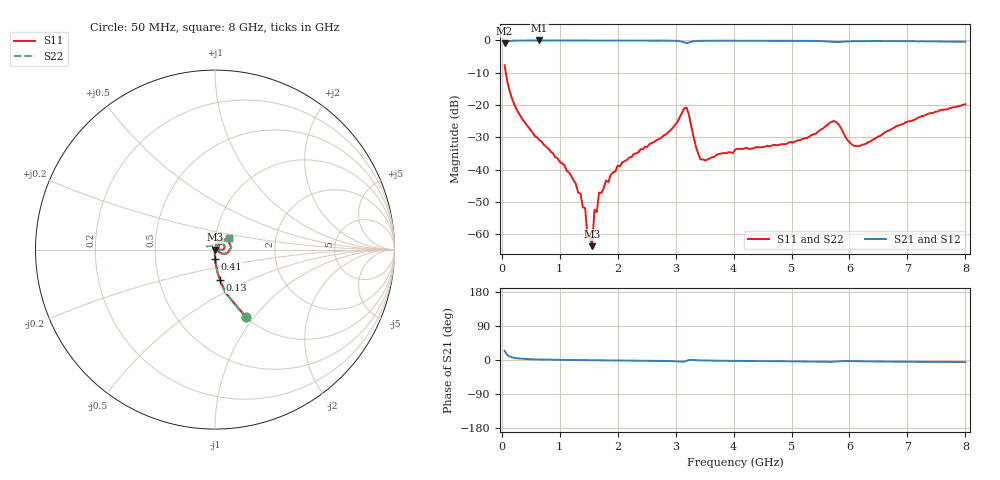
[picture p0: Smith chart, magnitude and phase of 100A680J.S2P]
!  American Technical Ceramics  Date:  3/13/98
!  One Norden Lane
!  Huntington Station,  NY.  11746-2102
!  Tel:  (516) 547-5700  Fax:  (516) 547-5748
!  Part Number  100A680J
!  Description: Porcelain, High Q, Low ESR
!  Application: Bypass, Coupling, Timing, Feedback
!  Tuning, Impedance Match, Blocking
# GHZ S DB R 50
! Freq  |S11|  S11 Ph  |S21|  S21 Ph  |S12|  S12 Ph  |S22|  S22 Ph
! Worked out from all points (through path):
!   201 points, 50 MHz to 8 GHz, reference 50 ohm
!   highest |S21| = -0.01 dB at 650 MHz (marker M1); lowest = -0.9 dB at 50 MHz (marker M2)
!   group delay of S21, straight-line fit = 2.93 ps
!   lowest |S11| = -63.6 dB at 1.56 GHz (marker M3), VSWR 1.00, Z = 50.1 + j0.00665 ohm
!   |S11| at or under -10 dB: 71.07 MHz to end of sweep
!   |S22| runs from -63.6 to -7.6 dB; largest |S21 - S12| = 0
!   S11 on the Smith chart (normalised r, x): 50 MHz: 1.00, -0.91; 130 MHz: 1.00, -0.35; 410 MHz: 1.00, -0.10; 8 GHz: 1.16, +0.16
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0.05  -7.64 -65.2  -0.87 24.4  -0.87 24.4  -7.64 -65.2
0.13  -15.23 -80.5  -0.24 9.9  -0.24 9.9  -15.23 -80.5
0.41  -25.60 -89.2  -0.03 2.8  -0.03 2.8  -25.60 -89.2
0.65  -30.82 -92.5  -0.01 1.3  -0.01 1.3  -30.82 -92.5
1.08  -38.53 -95.9  -0.03 0.2  -0.03 0.2  -38.53 -95.9
1.36  -47.32 -89.8  -0.04 -0.2  -0.04 -0.2  -47.32 -89.8
1.4  -51.57 -86.3  -0.04 -0.2  -0.04 -0.2  -51.57 -86.3
1.44  -51.86 -82.2  -0.03 -0.4  -0.03 -0.4  -51.86 -82.2
1.48  -60.83 -90.3  -0.02 -0.4  -0.02 -0.4  -60.83 -90.3
1.56  -63.61 5.8  -0.03 -0.6  -0.03 -0.6  -63.61 5.8
1.6  -52.37 73.8  -0.04 -0.7  -0.04 -0.7  -52.37 73.8
1.64  -53.11 45.6  -0.03 -0.8  -0.03 -0.8  -53.11 45.6
1.8  -43.28 67.0  -0.04 -1.0  -0.04 -1.0  -43.28 67.0
2.71  -30.51 70.8  -0.08 -2.3  -0.08 -2.3  -30.51 70.8
3.19  -20.79 7.4  -0.81 -2.2  -0.81 -2.2  -20.79 7.4
3.43  -36.80 -4.5  -0.13 -1.0  -0.13 -1.0  -36.80 -4.5
4.03  -33.75 52.9  -0.09 -2.4  -0.09 -2.4  -33.75 52.9
5.38  -29.02 53.2  -0.16 -4.3  -0.16 -4.3  -29.02 53.2
5.73  -24.90 22.9  -0.46 -4.4  -0.46 -4.4  -24.90 22.9
6.17  -32.73 23.9  -0.22 -3.2  -0.22 -3.2  -32.73 23.9
6.69  -27.81 47.5  -0.20 -4.2  -0.20 -4.2  -27.81 47.5
8  -19.79 40.5  -0.41 -5.5  -0.41 -5.5  -19.79 40.5
